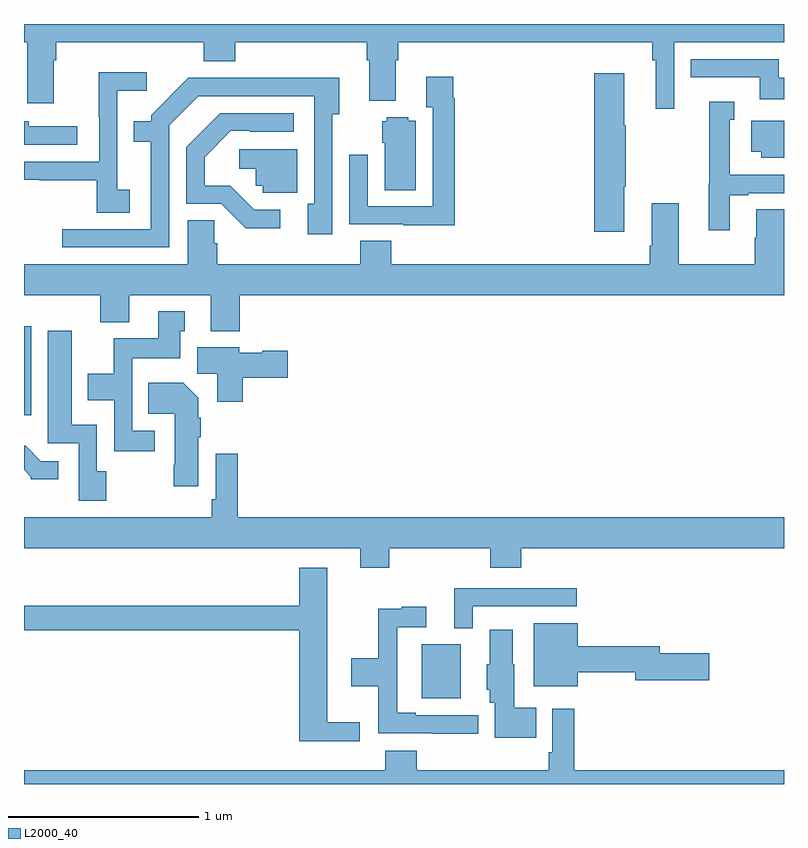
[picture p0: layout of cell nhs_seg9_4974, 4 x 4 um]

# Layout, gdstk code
import gdstk
lib = gdstk.Library(unit=1e-6, precision=1e-09)
def R(c, l, rs):  # rectangles x0, y0, x1, y1
    for r in rs: c.add(gdstk.rectangle(r[:2], r[2:], *l))
def P(c, l, *ps):  # polygons
    for p in ps: c.add(gdstk.Polygon(p, *l))
L2000_40 = (2000, 40)

nhs_seg9_4974 = lib.new_cell('nhs_seg9_4974')
R(nhs_seg9_4974, L2000_40, [(401.093,1208.951,401.299,1209.235), (399,1210.44,399.037,1210.909)])
P(nhs_seg9_4974, L2000_40, [(402.423,1212.404),(403,1212.404),(403,1212.5),(399,1212.5),(399,1212.404),(399.017,1212.404),(399.017,1212.084),(399.157,1212.084),(399.157,1212.308),(399.17,1212.308),(399.17,1212.404),(399.947,1212.404),(399.947,1212.305),(400.112,1212.305),(400.112,1212.404),(400.805,1212.404),(400.805,1212.308),(400.817,1212.308),(400.817,1212.095),(400.957,1212.095),(400.957,1212.308),(400.97,1212.308),(400.97,1212.404),(402.307,1212.404),(402.307,1212.308),(402.326,1212.308),(402.326,1212.054),(402.423,1212.054)],
  [(403,1212.216),(402.972,1212.216),(402.972,1212.315),(402.508,1212.315),(402.508,1212.219),(402.872,1212.219),(402.872,1212.104),(403,1212.104)],
  [(399.556,1211.628),(399.492,1211.628),(399.492,1212.149),(399.646,1212.149),(399.646,1212.247),(399.394,1212.247),(399.394,1212.008),(399.396,1212.008),(399.396,1211.775),(399,1211.775),(399,1211.679),(399.079,1211.679),(399.079,1211.677),(399.384,1211.677),(399.384,1211.506),(399.556,1211.506)],
  [(402.16,1211.644),(402.168,1211.644),(402.168,1211.966),(402.16,1211.966),(402.16,1212.241),(402.002,1212.241),(402.002,1211.406),(402.16,1211.406)],
  [(401.267,1212.11),(401.26,1212.11),(401.26,1212.223),(401.117,1212.223),(401.117,1212.062),(401.151,1212.062),(401.151,1211.541),(400.809,1211.541),(400.809,1211.812),(400.713,1211.812),(400.713,1211.445),(400.997,1211.445),(400.997,1211.441),(401.267,1211.441)],
  [(399.765,1211.967),(399.918,1212.12),(400.527,1212.12),(400.527,1211.554),(400.493,1211.554),(400.493,1211.394),(400.623,1211.394),(400.623,1212.026),(400.66,1212.026),(400.66,1212.218),(400.195,1212.218),(400.195,1212.216),(399.864,1212.216),(399.669,1212.021),(399.669,1211.989),(399.577,1211.989),(399.577,1211.88),(399.668,1211.88),(399.668,1211.421),(399.201,1211.421),(399.201,1211.325),(399.765,1211.325)],
  [(402.715,1211.598),(402.811,1211.598),(402.811,1211.61),(403,1211.61),(403,1211.706),(402.714,1211.706),(402.714,1211.997),(402.739,1211.997),(402.739,1212.091),(402.606,1212.091),(402.606,1211.659),(402.605,1211.659),(402.605,1211.415),(402.715,1211.415)],
  [(400.348,1211.523),(400.212,1211.523),(400.085,1211.65),(399.952,1211.65),(399.952,1211.8),(400.089,1211.937),(400.189,1211.937),(400.189,1211.934),(400.42,1211.934),(400.42,1212.03),(400.034,1212.03),(399.855,1211.851),(399.855,1211.553),(400.038,1211.553),(400.166,1211.426),(400.348,1211.426)],
  [(401.062,1211.992),(401.022,1211.992),(401.022,1212.01),(400.908,1212.01),(400.908,1211.988),(400.886,1211.988),(400.886,1211.874),(400.898,1211.874),(400.898,1211.626),(401.062,1211.626)],
  [(403,1211.992),(402.827,1211.992),(402.827,1211.828),(402.881,1211.828),(402.881,1211.795),(403,1211.795)],
  [(399.28,1211.961),(399.024,1211.961),(399.024,1211.988),(399,1211.988),(399,1211.865),(399.28,1211.865)],
  [(400.438,1211.841),(400.134,1211.841),(400.134,1211.738),(400.221,1211.738),(400.221,1211.649),(400.257,1211.649),(400.257,1211.613),(400.438,1211.613)],
  [(400.136,1211.072),(403,1211.072),(403,1211.525),(402.854,1211.525),(402.854,1211.375),(402.847,1211.375),(402.847,1211.236),(402.445,1211.236),(402.445,1211.557),(402.305,1211.557),(402.305,1211.332),(402.293,1211.332),(402.293,1211.236),(400.934,1211.236),(400.934,1211.36),(400.769,1211.36),(400.769,1211.236),(400.016,1211.236),(400.016,1211.346),(400.001,1211.346),(400.001,1211.468),(399.863,1211.468),(399.863,1211.236),(399,1211.236),(399,1211.072),(399.401,1211.072),(399.401,1210.931),(399.553,1210.931),(399.553,1211.072),(399.983,1211.072),(399.983,1210.883),(400.136,1210.883)],
  [(399.688,1210.359),(399.57,1210.359),(399.57,1210.742),(399.823,1210.742),(399.823,1210.884),(399.847,1210.884),(399.847,1210.987),(399.707,1210.987),(399.707,1210.846),(399.472,1210.846),(399.472,1210.66),(399.335,1210.66),(399.335,1210.52),(399.474,1210.52),(399.474,1210.251),(399.688,1210.251)],
  [(399.432,1210.146),(399.384,1210.146),(399.384,1210.39),(399.25,1210.39),(399.25,1210.885),(399.125,1210.885),(399.125,1210.293),(399.288,1210.293),(399.288,1209.99),(399.432,1209.99)],
  [(400.151,1210.637),(400.387,1210.637),(400.387,1210.779),(400.254,1210.779),(400.254,1210.771),(400.134,1210.771),(400.134,1210.798),(399.911,1210.798),(399.911,1210.66),(400.016,1210.66),(400.016,1210.512),(400.151,1210.512)],
  [(399.916,1210.324),(399.929,1210.324),(399.929,1210.427),(399.916,1210.427),(399.916,1210.534),(399.838,1210.612),(399.655,1210.612),(399.655,1210.448),(399.794,1210.448),(399.794,1210.18),(399.787,1210.18),(399.787,1210.068),(399.916,1210.068)],
  [(399.181,1210.2),(399.087,1210.2),(399.009,1210.279),(399,1210.279),(399,1210.154),(399.036,1210.118),(399.036,1210.103),(399.181,1210.103)],
  [(400.922,1209.74),(401.453,1209.74),(401.453,1209.638),(401.618,1209.638),(401.618,1209.74),(403,1209.74),(403,1209.904),(400.124,1209.904),(400.124,1210.237),(400.008,1210.237),(400.008,1210),(399.988,1210),(399.988,1209.904),(399,1209.904),(399,1209.74),(400.769,1209.74),(400.769,1209.638),(400.922,1209.638)],
  [(400.768,1208.825),(400.597,1208.825),(400.597,1209.637),(400.448,1209.637),(400.448,1209.439),(399,1209.439),(399,1209.31),(400.448,1209.31),(400.448,1208.726),(400.768,1208.726)],
  [(401.361,1209.435),(401.908,1209.435),(401.908,1209.531),(401.264,1209.531),(401.264,1209.32),(401.361,1209.32)],
  [(401.392,1208.862),(401.062,1208.862),(401.062,1208.875),(400.965,1208.875),(400.965,1209.324),(401.116,1209.324),(401.116,1209.433),(400.988,1209.433),(400.988,1209.422),(400.864,1209.422),(400.864,1209.162),(400.722,1209.162),(400.722,1209.014),(400.864,1209.014),(400.864,1208.766),(401.149,1208.766),(401.149,1208.765),(401.392,1208.765)],
  [(401.914,1209.088),(402.218,1209.088),(402.218,1209.046),(402.607,1209.046),(402.607,1209.188),(402.346,1209.188),(402.346,1209.224),(401.914,1209.224),(401.914,1209.346),(401.684,1209.346),(401.684,1209.014),(401.914,1209.014)],
  [(401.696,1208.902),(401.581,1208.902),(401.581,1209.129),(401.572,1209.129),(401.572,1209.313),(401.45,1209.313),(401.45,1209.129),(401.435,1209.129),(401.435,1208.997),(401.45,1208.997),(401.45,1208.928),(401.477,1208.928),(401.477,1208.744),(401.696,1208.744)],
  [(403,1208.572),(401.897,1208.572),(401.897,1208.896),(401.781,1208.896),(401.781,1208.668),(401.761,1208.668),(401.761,1208.572),(401.066,1208.572),(401.066,1208.674),(400.901,1208.674),(400.901,1208.572),(399,1208.572),(399,1208.5),(403,1208.5)])

lib.write_gds('nhs_seg9_4974.gds')
